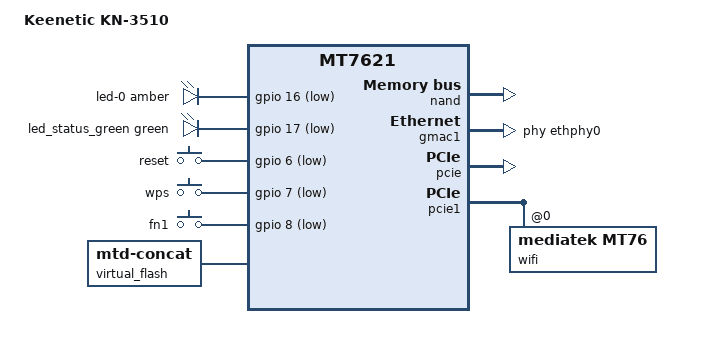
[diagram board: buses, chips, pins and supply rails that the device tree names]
// SPDX-License-Identifier: GPL-2.0-or-later OR MIT

#include "mt7621.dtsi"

#include <dt-bindings/gpio/gpio.h>
#include <dt-bindings/input/input.h>
#include <dt-bindings/leds/common.h>

/ {
	compatible = "keenetic,kn-3510", "mediatek,mt7621-soc";
	model = "Keenetic KN-3510";

	aliases {
		led-boot = &led_status_green;
		led-failsafe = &led_status_green;
		led-running = &led_status_green;
		led-upgrade = &led_status_green;
		label-mac-device = &gmac0;
	};

	chosen {
		bootargs = "console=ttyS0,115200";
	};

	leds {
		compatible = "gpio-leds";

		led-0 {
			function = LED_FUNCTION_WPS;
			color = <LED_COLOR_ID_AMBER>;
			gpios = <&gpio 16 GPIO_ACTIVE_LOW>;
		};

		led_status_green: led-1 {
			function = LED_FUNCTION_STATUS;
			color = <LED_COLOR_ID_GREEN>;
			gpios = <&gpio 17 GPIO_ACTIVE_LOW>;
		};
	};

	keys {
		compatible = "gpio-keys";

		reset {
			label = "reset";
			gpios = <&gpio 6 GPIO_ACTIVE_LOW>;
			linux,code = <KEY_RESTART>;
		};

		wps {
			label = "wps";
			gpios = <&gpio 7 GPIO_ACTIVE_LOW>;
			linux,code = <KEY_WPS_BUTTON>;
		};

		fn1 {
			label = "fn1";
			gpios = <&gpio 8 GPIO_ACTIVE_LOW>;
			linux,code = <BTN_0>;
		};
	};

	virtual_flash {
		compatible = "mtd-concat";
		devices = <&firmware1 &storage1 &firmware2 &storage2>;

		partitions {
			compatible = "fixed-partitions";
			#address-cells = <1>;
			#size-cells = <1>;

			partition@0 {
				label = "kernel";
				reg = <0x0 0x400000>;
			};

			partition@400000 {
				label = "ubi";
				reg = <0x400000 0x0>;
			};
		};
	};
};

&state_default {
	gpio {
		groups = "uart3", "jtag";
		function = "gpio";
	};
};

&nand {
	status = "okay";

	partitions {
		compatible = "fixed-partitions";
		#address-cells = <1>;
		#size-cells = <1>;

		partition@0 {
			label = "u-boot";
			reg = <0x0 0x80000>;
			read-only;
		};

		partition@80000 {
			label = "u-config";
			reg = <0x80000 0x80000>;
			read-only;
		};

		partition@100000 {
			label = "rf-eeprom";
			reg = <0x100000 0x80000>;
			read-only;

			nvmem-layout {
				compatible = "fixed-layout";
				#address-cells = <1>;
				#size-cells = <1>;

				eeprom_factory_0: eeprom@0 {
					reg = <0x0 0xe00>;
				};

				macaddr_factory_4: macaddr@4 {
					reg = <0x4 0x6>;
				};

				macaddr_factory_a: macaddr@a {
					reg = <0xa 0x6>;
				};

				precal_factory_e10: precal@e10 {
					reg = <0xe10 0x19c10>;
				};
			};
		};

		firmware1: partition@180000 {
			label = "firmware_1";
			reg = <0x180000 0x1a40000>;
		};

		partition@1bc0000 {
			label = "config_1";
			reg = <0x1bc0000 0x20000>;
			read-only;
		};

		partition@1dc0000 {
			label = "storage_legacy";
			reg = <0x1dc0000 0x20000>;
			read-only;
		};

		partition@1fc0000 {
			label = "dump";
			reg = <0x1fc0000 0x40000>;
			read-only;
		};

		storage1: partition@2000000 {
			label = "storage_a";
			reg = <0x2000000 0x1fc0000>;
		};

		partition@3fc0000 {
			label = "u-state";
			reg = <0x3fc0000 0x80000>;
			read-only;
		};

		partition@4040000 {
			label = "u-config_res";
			reg = <0x4040000 0x80000>;
			read-only;
		};

		partition@40c0000 {
			label = "rf-eeprom_res";
			reg = <0x40c0000 0x80000>;
			read-only;
		};

		firmware2: partition@4140000 {
			label = "firmware_2";
			reg = <0x4140000 0x1a40000>;
		};

		partition@5b80000 {
			label = "config_2";
			reg = <0x5d00000 0x20000>;
			read-only;
		};

		storage2: partition@5d80000 {
			label = "storage_b";
			reg = <0x5d80000 0x2200000>;
		};
	};
};

&ethphy0 {
	/delete-property/ interrupts;
};

&gmac0 {
	nvmem-cells = <&macaddr_factory_4>;
	nvmem-cell-names = "mac-address";
};

&gmac1 {
	status = "okay";
	label = "wan";
	phy-handle = <&ethphy0>;

	nvmem-cells = <&macaddr_factory_a>;
	nvmem-cell-names = "mac-address";
};

&switch0 {
	ports {
		port@3 {
			status = "okay";
			label = "lan";
		};
	};
};

&pcie {
	status = "okay";
};

&pcie1 {
	wifi@0,0 {
		compatible = "mediatek,mt76";
		reg = <0x0000 0 0 0 0>;
		nvmem-cells = <&eeprom_factory_0>, <&precal_factory_e10>;
		nvmem-cell-names = "eeprom", "precal";
		mediatek,disable-radar-background;
	};
};

&xhci {
	status = "disabled";
};
